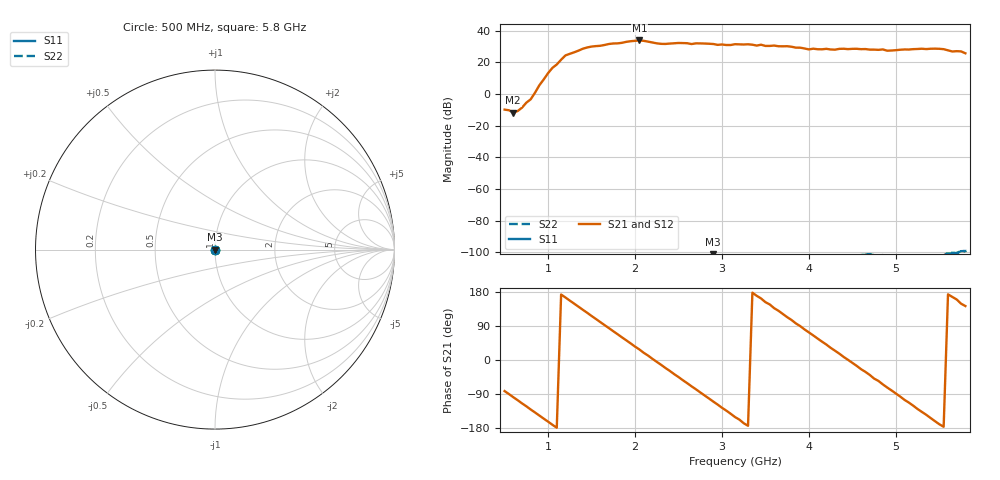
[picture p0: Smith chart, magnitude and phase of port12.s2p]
# GHZ S RI R 50
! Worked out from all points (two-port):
!   107 points, 500 MHz to 5.8 GHz, reference 50 ohm
!   highest |S21| = 33.79 dB at 2.05 GHz (marker M1); lowest = -11.7 dB at 600 MHz (marker M2)
!   |S21| within 3 dB of the highest: 1.635 GHz to 3.379 GHz (1.744 GHz wide, 69.5 % of centre); 3.421 GHz to 3.47 GHz (48.94 MHz wide, 1.42 % of centre)
!   lowest |S11| = -129.0 dB at 2.9 GHz (marker M3), VSWR 1.00, Z = 50 - j9.72e-06 ohm
!   |S11| at or under -10 dB: start of sweep to end of sweep
!   |S22| runs from -126.9 to -99.3 dB; largest |S21 - S12| = 0.49
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0.5  5.3e-06 -3.4e-06  0.0444 -0.3163  0.0445 -0.3161  5.43e-06 -1.17e-06
0.6  4.07e-06 -5.14e-06  -0.0369 -0.256  -0.0372 -0.256  5.31e-06 -2.33e-06
1.1  -3.85e-06 -3.99e-06  -8.513 -0.1752  -8.507 -0.1798  8.45e-08 -5.41e-06
1.2  -3.99e-06 -2.54e-06  -15.9 4.275  -15.89 4.268  -1.12e-06 -4.7e-06
1.4  -2.86e-06 -1.1e-06  -18.1 19.79  -18.11 19.82  -2.31e-06 -2.46e-06
1.75  -2.18e-06 -2.66e-06  9.556 38.06  9.601 38.1  7.57e-07 -6.26e-07
1.9  -3.44e-06 -3.09e-06  27.35 34.76  27.47 34.66  1.8e-06 -2.09e-06
2.05  -5.01e-06 -2.38e-06  43.23 22.85  43.21 22.78  1.4e-06 -4.06e-06
2.3  -5.94e-06 9.08e-07  37.29 -8.406  37.3 -8.239  -2.12e-06 -5.39e-06
2.6  -2.37e-06 3.12e-06  19.31 -35.05  19.3 -35  -4.37e-06 -1.78e-06
2.9  -3.42e-07 -9.72e-08  -12.75 -35.59  -12.67 -35.64  -1.92e-06 -6.75e-07
3.15  -3.06e-06 -2.12e-06  -32.42 -18.33  -32.4 -18.58  -2.24e-06 -3e-06
3.45  -5.85e-06 1.32e-06  -34.21 10.87  -33.97 10.74  -5.82e-06 -1.47e-06
3.6  -4.75e-06 4.2e-06  -24.62 23.11  -24.98 22.81  -6.45e-06 1.26e-06
3.75  -2.42e-06 4.88e-06  -12.63 29.59  -12.51 29.76  -4.85e-06 2.78e-06
4.05  -2.57e-07 9.39e-07  11.43 24.34  11.47 24.31  -9.98e-07 8.56e-07
4.5  -6.55e-06 2.95e-06  26.36 -3.488  26.48 -3.624  -7.12e-06 -9.72e-08
4.75  -3.14e-06 7.39e-06  16.46 -18.95  16.4 -18.98  -6.11e-06 4.8e-06
4.95  1.6e-06 6.28e-06  3.999 -23.18  4.023 -23.19  -2.65e-06 5.62e-06
5.2  1.56e-06 6.36e-10  -13.2 -22.38  -13.32 -22.25  -1.6e-06 1.76e-06
5.45  -5.38e-06 -1.44e-07  -25.54 -8.585  -25.49 -8.501  -6.09e-06 1.4e-06
5.8  -4.61e-06 9.86e-06  -15.22 11.73  -14.97 11.92  -5.38e-06 9.33e-06
